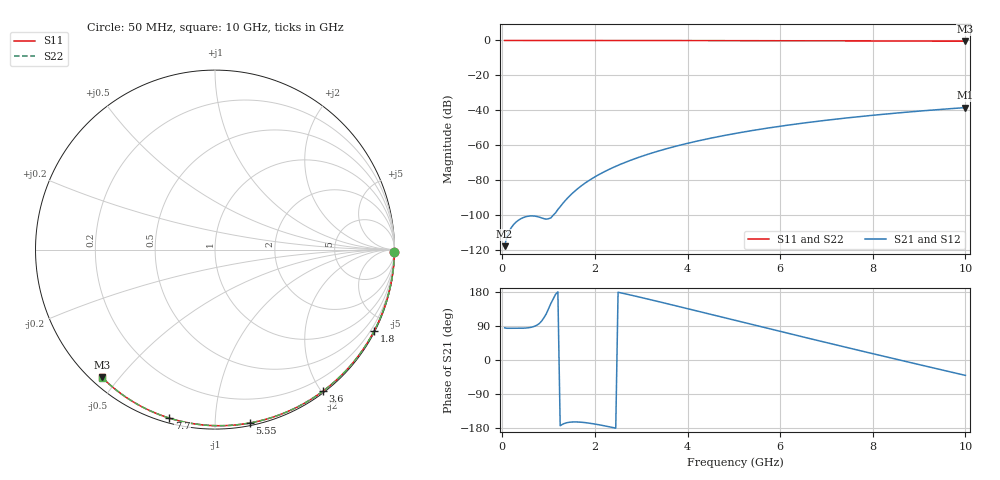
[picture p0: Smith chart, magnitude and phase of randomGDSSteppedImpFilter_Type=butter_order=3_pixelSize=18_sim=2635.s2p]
! freq	dB(S11)	phase(S11)	dB(S12)	phase(S12)
!  dB(S21)	phase(S21)	dB(S22)	phase(S22)
!S-par simulation data
#  GHz  S  DB  R 50
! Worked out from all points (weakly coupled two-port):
!   200 points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, 50 MHz to 10 GHz, reference 50 ohm
!   highest |S21| = -38.41 dB at 10 GHz (marker M1); lowest = -117.7 dB at 50 MHz (marker M2)
!   lowest |S11| = -0.4 dB at 10 GHz (marker M3), VSWR 39.09, Z = 1.54 - j22.5 ohm
!   |S11| at or under -10 dB: nowhere
!   |S22| runs from -0.4 to 0.0 dB; largest |S21 - S12| = 0
!   S11 on the Smith chart (normalised r, x): 50 MHz: open; 1.8 GHz: 0.04, -4.17; 3.6 GHz: 0.02, -2.02; 5.55 GHz: 0.02, -1.22; 7.7 GHz: 0.02, -0.77; 10 GHz: 0.03, -0.45
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0.05  -0.00 -0.8  -117.70 84.8  -117.70 84.8  -0.00 -0.8
0.9  -0.02 -13.6  -101.97 111.7  -101.97 111.7  -0.02 -13.6
1.75  -0.03 -26.2  -82.33 -164.7  -82.33 -164.7  -0.03 -26.2
1.8  -0.03 -27.0  -81.40 -165.4  -81.40 -165.4  -0.03 -26.9
1.85  -0.04 -27.7  -80.51 -166.2  -80.51 -166.2  -0.04 -27.6
1.9  -0.04 -28.4  -79.65 -167.1  -79.65 -167.1  -0.04 -28.4
2.05  -0.04 -30.6  -77.28 -170.1  -77.28 -170.1  -0.04 -30.6
2.25  -0.04 -33.5  -74.48 -174.7  -74.48 -174.7  -0.04 -33.5
2.45  -0.05 -36.4  -72.01 -179.8  -72.01 -179.8  -0.05 -36.4
2.65  -0.05 -39.3  -69.79 174.8  -69.79 174.8  -0.05 -39.2
3  -0.06 -44.3  -66.38 165.0  -66.38 165.0  -0.06 -44.2
3.4  -0.07 -49.9  -63.04 153.3  -63.04 153.3  -0.07 -49.8
3.6  -0.07 -52.7  -61.55 147.4  -61.55 147.4  -0.07 -52.6
4.3  -0.09 -62.3  -57.04 126.5  -57.04 126.5  -0.09 -62.2
5.05  -0.11 -72.3  -53.12 104.0  -53.12 104.0  -0.11 -72.2
5.55  -0.13 -78.7  -50.88 89.0  -50.88 89.0  -0.13 -78.6
6.1  -0.15 -85.7  -48.71 72.6  -48.71 72.6  -0.15 -85.6
6.7  -0.18 -93.1  -46.60 54.8  -46.60 54.8  -0.18 -93.0
7.7  -0.24 -105.1  -43.61 25.4  -43.61 25.4  -0.24 -105.0
8.35  -0.29 -112.7  -41.93 6.6  -41.93 6.6  -0.29 -112.6
9.15  -0.36 -121.9  -40.11 -16.4  -40.11 -16.4  -0.36 -121.7
10  -0.44 -131.5  -38.41 -40.6  -38.41 -40.6  -0.44 -131.3
